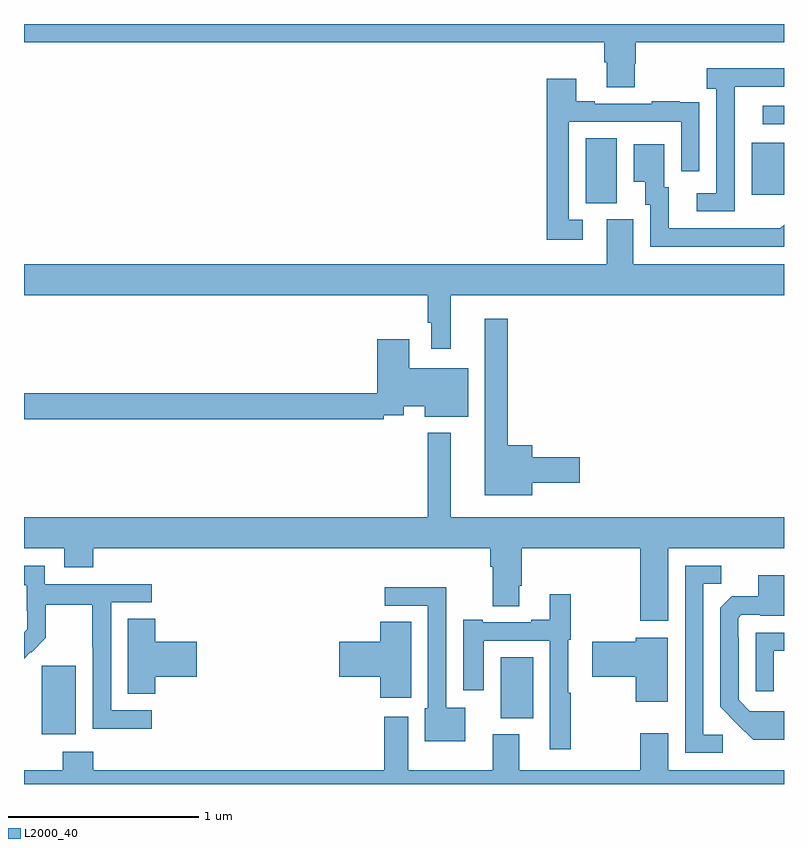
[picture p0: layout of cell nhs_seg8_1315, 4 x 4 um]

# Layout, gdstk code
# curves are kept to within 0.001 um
import gdstk
lib = gdstk.Library(unit=1e-6, precision=1e-09)
def R(c, l, rs):  # rectangles x0, y0, x1, y1
    for r in rs: c.add(gdstk.rectangle(r[:2], r[2:], *l))
def P(c, l, *ps):  # polygons
    for p in ps: c.add(gdstk.Polygon(p, *l))
L2000_40 = (2000, 40)

nhs_seg8_1315 = lib.new_cell('nhs_seg8_1315')
R(nhs_seg8_1315, L2000_40, [(193.094,1142.162,193.273,1142.523), (195.509,1142.246,195.679,1142.566), (195.956,1144.957,196.12,1145.3), (196.829,1145.001,197,1145.275), (196.887,1145.373,197,1145.469)])
P(nhs_seg8_1315, L2000_40, [(196.215,1145.691),(196.22,1145.691),(196.22,1145.804),(197,1145.804),(197,1145.9),(193,1145.9),(193,1145.804),(196.055,1145.804),(196.055,1145.698),(196.067,1145.698),(196.067,1145.566),(196.215,1145.566)],
  [(196.74,1145.371),(196.741,1145.371),(196.741,1145.571),(197,1145.571),(197,1145.668),(196.593,1145.668),(196.593,1145.558),(196.644,1145.558),(196.644,1145.01),(196.542,1145.01),(196.542,1144.914),(196.74,1144.914)],
  [(195.94,1144.869),(195.867,1144.869),(195.867,1145.385),(196.458,1145.385),(196.458,1145.124),(196.554,1145.124),(196.554,1145.378),(196.553,1145.378),(196.553,1145.487),(196.451,1145.487),(196.451,1145.494),(196.303,1145.494),(196.303,1145.481),(196.003,1145.481),(196.003,1145.494),(195.907,1145.494),(195.907,1145.611),(195.751,1145.611),(195.751,1144.764),(195.94,1144.764)],
  [(197,1144.844),(196.981,1144.825),(196.393,1144.824),(196.393,1145.04),(196.369,1145.04),(196.369,1145.266),(196.208,1145.266),(196.208,1145.069),(196.271,1145.069),(196.271,1144.95),(196.296,1144.95),(196.296,1144.728),(197,1144.728)],
  [(195.247,1144.472),(197,1144.472),(197,1144.636),(196.207,1144.636),(196.207,1144.872),(196.067,1144.872),(196.067,1144.636),(193,1144.636),(193,1144.472),(195.126,1144.472),(195.126,1144.327),(195.143,1144.327),(195.143,1144.191),(195.247,1144.191)],
  [(195.676,1143.485),(195.925,1143.485),(195.925,1143.62),(195.676,1143.62),(195.676,1143.682),(195.547,1143.682),(195.547,1144.348),(195.425,1144.348),(195.425,1143.419),(195.676,1143.419)],
  [(194.894,1143.84),(194.998,1143.84),(194.998,1143.887),(195.11,1143.887),(195.11,1143.833),(195.337,1143.833),(195.337,1144.087),(195.028,1144.087),(195.028,1144.24),(194.858,1144.24),(194.858,1143.956),(193,1143.956),(193,1143.82),(194.894,1143.82)],
  [(193,1143.14),(193.211,1143.14),(193.211,1143.041),(193.364,1143.041),(193.364,1143.14),(195.455,1143.14),(195.455,1143.044),(195.467,1143.044),(195.467,1142.836),(195.607,1142.836),(195.607,1142.944),(195.62,1142.944),(195.62,1143.14),(196.243,1143.14),(196.243,1142.76),(196.39,1142.76),(196.39,1143.14),(197,1143.14),(197,1143.304),(195.247,1143.304),(195.247,1143.748),(195.126,1143.748),(195.126,1143.304),(193,1143.304)],
  [(193.672,1142.289),(193.458,1142.289),(193.458,1142.856),(193.672,1142.856),(193.672,1142.952),(193.11,1142.952),(193.11,1143.049),(193,1143.049),(193,1142.945),(193.014,1142.945),(193.014,1142.811),(193.016,1142.811),(193.016,1142.714),(193,1142.698),(193,1142.56),(193.035,1142.595),(193.038,1142.592),(193.115,1142.669),(193.115,1142.844),(193.36,1142.844),(193.36,1142.62),(193.362,1142.62),(193.362,1142.191),(193.672,1142.191)],
  [(196.678,1142.16),(196.575,1142.16),(196.575,1142.953),(196.671,1142.953),(196.671,1143.048),(196.479,1143.048),(196.479,1142.064),(196.678,1142.064)],
  [(197,1142.284),(196.821,1142.283),(196.761,1142.343),(196.761,1142.672),(196.758,1142.672),(196.758,1142.772),(196.776,1142.79),(196.876,1142.79),(196.876,1142.786),(197,1142.786),(197,1142.998),(196.865,1142.998),(196.865,1142.887),(196.724,1142.887),(196.665,1142.828),(196.665,1142.306),(196.837,1142.132),(197,1142.132)],
  [(195.322,1142.302),(195.222,1142.302),(195.222,1142.936),(194.898,1142.936),(194.898,1142.838),(195.126,1142.838),(195.126,1142.298),(195.11,1142.298),(195.11,1142.126),(195.322,1142.126)],
  [(195.877,1142.381),(195.864,1142.381),(195.864,1142.658),(195.877,1142.658),(195.877,1142.899),(195.767,1142.899),(195.767,1142.764),(195.671,1142.764),(195.671,1142.751),(195.415,1142.751),(195.415,1142.764),(195.311,1142.764),(195.311,1142.394),(195.421,1142.394),(195.421,1142.655),(195.768,1142.655),(195.768,1142.082),(195.877,1142.082)],
  [(193.691,1142.465),(193.909,1142.465),(193.909,1142.648),(193.691,1142.648),(193.691,1142.771),(193.547,1142.771),(193.547,1142.374),(193.691,1142.374)],
  [(195.037,1142.753),(194.876,1142.753),(194.876,1142.648),(194.658,1142.648),(194.658,1142.465),(194.876,1142.465),(194.876,1142.355),(195.037,1142.355)],
  [(196.947,1142.601),(197,1142.601),(197,1142.697),(196.851,1142.697),(196.851,1142.388),(196.947,1142.388)],
  [(196.387,1142.671),(196.22,1142.671),(196.22,1142.648),(195.99,1142.648),(195.99,1142.465),(196.22,1142.465),(196.22,1142.334),(196.387,1142.334)],
  [(197,1141.972),(196.39,1141.972),(196.39,1142.167),(196.243,1142.167),(196.243,1141.972),(195.607,1141.972),(195.607,1142.161),(195.467,1142.161),(195.467,1141.972),(195.022,1141.972),(195.022,1142.254),(194.897,1142.254),(194.897,1141.972),(193.364,1141.972),(193.364,1142.071),(193.204,1142.071),(193.204,1141.972),(193,1141.972),(193,1141.9),(197,1141.9)])

lib.write_gds('nhs_seg8_1315.gds')
